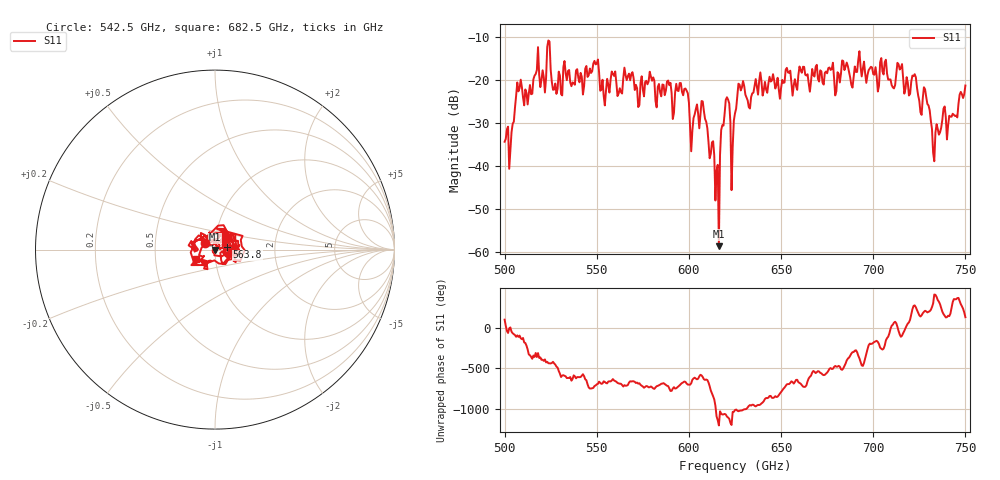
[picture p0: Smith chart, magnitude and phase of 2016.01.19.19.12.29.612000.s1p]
!Created with skrf (http://scikit-rf.org).
# GHz S RI R 50.0
!freq ReS11 ImS11
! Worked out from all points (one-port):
!   401 points, 500 GHz to 750 GHz, reference 50 ohm
!   lowest |S11| = -58.6 dB at 616.2 GHz (marker M1), VSWR 1.00, Z = 49.9 - j0.0909 ohm
!   |S11| at or under -10 dB: start of sweep to end of sweep
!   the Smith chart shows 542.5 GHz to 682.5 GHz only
!   S11 on the Smith chart (normalised r, x): 542.5 GHz: 0.89, +0.07; 563.8 GHz: 1.14, +0.03; 682.5 GHz: 0.81, -0.09
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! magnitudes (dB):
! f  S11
! 500 GHz  -34.4
! 503.8 GHz  -32.2
! 507.5 GHz  -22.7
! 523.8 GHz  -10.9
! 526.9 GHz  -22.3
! 531.2 GHz  -23.6
! 542.5 GHz  -23.4
! 549.4 GHz  -16.4
! 553.1 GHz  -20.0
! 562.5 GHz  -22.0
! 563.8 GHz  -23.2
! 593.8 GHz  -22.5
! 601.9 GHz  -31.8
! 608.1 GHz  -27.3
! 615 GHz  -41.1
! 616.2 GHz  -58.6
! 620.6 GHz  -24.1
! 623.1 GHz  -45.6
! 625 GHz  -27.8
! 628.1 GHz  -22.5
! 656.2 GHz  -23.7
! 682.5 GHz  -18.6
! 687.5 GHz  -19.5
! 714.4 GHz  -17.6
! 718.8 GHz  -20.7
! 728.8 GHz  -24.0
! 733.1 GHz  -38.9
! 750 GHz  -21.4
